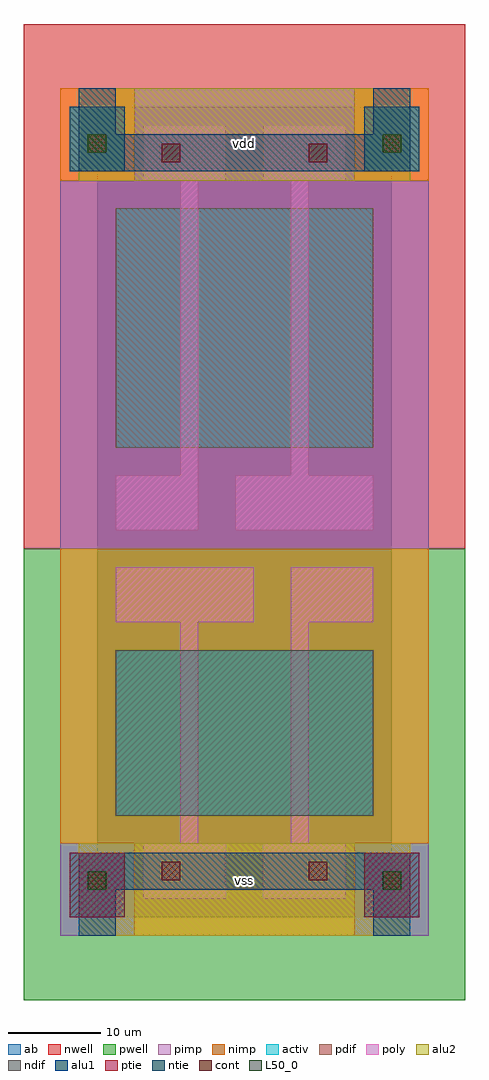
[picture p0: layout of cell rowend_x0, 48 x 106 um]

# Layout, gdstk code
import gdstk
lib = gdstk.Library(unit=1e-6, precision=1e-09)
def R(c, l, rs):  # rectangles x0, y0, x1, y1
    for r in rs: c.add(gdstk.rectangle(r[:2], r[2:], *l))
ndif = (3, 0)
pdif = (4, 0)
ntie = (5, 0)
ptie = (6, 0)
cont = (25, 0)
pwell = (41, 0)
nwell = (42, 0)
activ = (43, 0)
pimp = (44, 0)
nimp = (45, 0)
poly = (46, 0)
alu1 = (49, 0)
L50_0 = (50, 0)
alu2 = (51, 0)
ab = (63, 0)

rowend_x0 = lib.new_cell('rowend_x0')
R(rowend_x0, ndif, [(2,11,30,29)])
R(rowend_x0, pdif, [(2,51,30,77)])
R(rowend_x0, ntie, [(-3,81,3,88), (29,81,35,88)])
R(rowend_x0, ptie, [(-3,0,3,7), (29,0,35,7)])
R(rowend_x0, cont, [(-1,3,1,5), (31,3,33,5), (7,4,9,6), (23,4,25,6), (7,82,9,84), (23,82,25,84), (-1,83,1,85), (31,83,33,85)])
R(rowend_x0, pwell, [(-8,-9,40,40)])
R(rowend_x0, nwell, [(-8,40,40,97)])
R(rowend_x0, activ, [(-3,0,3,7), (29,0,35,7), (2,11,30,29), (2,51,30,77), (-3,81,3,88), (29,81,35,88)])
R(rowend_x0, pimp, [(-4,-2,4,8), (28,-2,36,8), (-4,40,36,80), (4,80,28,90)])
R(rowend_x0, nimp, [(4,-2,28,8), (-4,8,36,40), (-4,80,4,90), (28,80,36,90)])
R(rowend_x0, poly, [(5,2,14,8), (18,2,27,8), (9,8,11,32), (21,8,23,32), (2,32,17,38), (21,32,30,38), (2,42,11,48), (15,42,30,48), (9,48,11,80), (21,48,23,80), (5,80,14,86), (18,80,27,86)])
R(rowend_x0, alu1, [(-2,-2,2,3), (30,-2,34,3), (-2,3,34,7), (-2,81,34,85), (-2,85,2,90), (30,85,34,90)])
R(rowend_x0, L50_0, [(-1,3,1,5), (31,3,33,5), (-1,83,1,85), (31,83,33,85)])
R(rowend_x0, alu2, [(-2,-2,34,8), (-2,80,34,90)])
R(rowend_x0, ab, [(0,0,32,88)])
rowend_x0.add(gdstk.Label('vss', (16,4), layer=51, texttype=0))
rowend_x0.add(gdstk.Label('vdd', (16,84), layer=51, texttype=0))

lib.write_gds('rowend_x0.gds')
